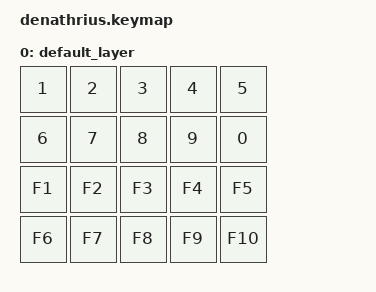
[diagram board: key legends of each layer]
#include <behaviors.dtsi>
#include <dt-bindings/zmk/keys.h>

/ {
    keymap {
        compatible = "zmk,keymap";

        default_layer {
// ---------------------------------------------------
// |   1   |    2    |    3    |    4    |    5    |
// |   6   |    7    |    8    |    9    |    0    |
// |  F1   |   F2    |   F3    |   F4    |   F5    |
// |  F6   |   F7    |   F8    |   F9    |   F10   |
// ---------------------------------------------------
            bindings = <
    &kp 1    &kp 2    &kp 3    &kp 4     &kp 5  
    &kp 6    &kp 7    &kp 8    &kp 9     &kp 0  
    &kp F1   &kp F2   &kp F3   &kp F4    &kp F5
    &kp F6   &kp F7   &kp F8   &kp F9    &kp F10
            >;
        };
    };
};
